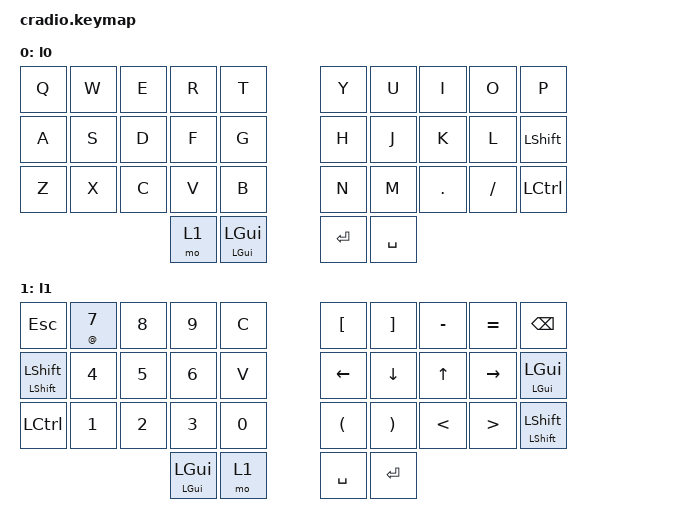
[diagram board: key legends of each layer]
#include <behaviors.dtsi>
#include <dt-bindings/zmk/keys.h>

/ {
    combos {
        compatible = "zmk,combos";

        escape {
            bindings = <&kp ESCAPE>;
            key-positions = <12 13>;
        };

        enter {
            bindings = <&kp ENTER>;
            key-positions = <16 17>;
        };

        backspace {
            bindings = <&kp BACKSPACE>;
            key-positions = <6 7>;
        };

        tab {
            bindings = <&kp TAB>;
            key-positions = <18 19>;
        };

        del {
            bindings = <&kp DELETE>;
            key-positions = <2 3>;
        };

        bootloader {
            bindings = <&bootloader>;
            key-positions = <20 10 0>;
        };

        bootloader2 {
            bindings = <&bootloader>;
            key-positions = <9 19 29>;
        };
    };

    keymap {
        compatible = "zmk,keymap";

        l0 {
            bindings = <
&kp Q  &kp W  &kp E  &kp R  &kp T                    &kp Y      &kp U      &kp I    &kp O      &kp P
&kp A  &kp S  &kp D  &kp F  &kp G                    &kp H      &kp J      &kp K    &kp L      &kp LSHIFT
&kp Z  &kp X  &kp C  &kp V  &kp B                    &kp N      &kp M      &kp DOT  &kp SLASH  &kp LEFT_CONTROL
                     &mo 1  &mt LEFT_GUI LEFT_GUI    &kp ENTER  &kp SPACE
            >;
        };

        l1 {
            bindings = <
&kp ESCAPE         &mt AT N7     &kp N8        &kp N9                 &kp C     &kp LEFT_BRACKET      &kp RIGHT_BRACKET      &kp MINUS      &kp EQUAL         &kp BACKSPACE
&mt LSHIFT LSHIFT  &kp NUMBER_4  &kp N5        &kp NUMBER_6           &kp V     &kp LEFT_ARROW        &kp DOWN_ARROW         &kp UP_ARROW   &kp RIGHT         &mt LGUI LEFT_GUI
&kp LEFT_CONTROL   &kp NUMBER_1  &kp NUMBER_2  &kp NUMBER_3           &kp N0    &kp LEFT_PARENTHESIS  &kp RIGHT_PARENTHESIS  &kp LESS_THAN  &kp GREATER_THAN  &mt LSHIFT LEFT_SHIFT
                                               &mt LEFT_GUI LEFT_GUI  &mo 1     &kp SPACE             &kp RET
            >;
        };
    };

    conditional_layers { compatible = "zmk,conditional-layers"; };
};
